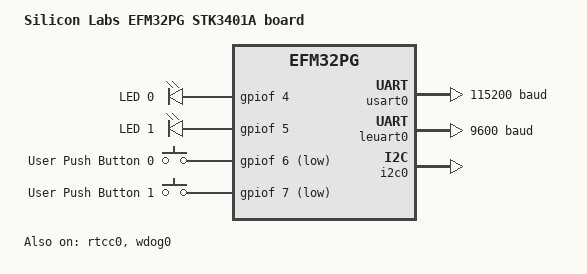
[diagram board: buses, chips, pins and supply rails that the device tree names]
/*
 * Copyright (c) 2020 Rafael Dias Menezes <rdmeneze@gmail.com>
 *
 * SPDX-License-Identifier: Apache-2.0
 */

/ {
	model = "Silicon Labs EFM32PG STK3401A board";

	chosen {
		zephyr,console = &usart0;
		zephyr,shell-uart = &usart0;
		zephyr,sram = &sram0;
		zephyr,flash = &flash0;
		watchdog0 = &wdog0;
	};

	/* These aliases are provided for compatibility with samples */
	aliases {
		led0 = &led0;
		led1 = &led1;
		sw0 = &button0;
		sw1 = &button1;
	};

	leds {
		compatible = "gpio-leds";
		led0: led_0 {
			gpios = <&gpiof 4 0>;
			label = "LED 0";
		};
		led1: led_1 {
			gpios = <&gpiof 5 0>;
			label = "LED 1";
		};
	};

	buttons {
		compatible = "gpio-keys";
		button0: button_0 {
			/* gpio flags need validation */
			gpios = <&gpiof 6 GPIO_ACTIVE_LOW>;
			label = "User Push Button 0";
		};
		button1: button_1 {
			/* gpio flags need validation */
			gpios = <&gpiof 7 GPIO_ACTIVE_LOW>;
			label = "User Push Button 1";
		};
	};
};

&cpu0 {
	clock-frequency = <40000000>;
};

&usart0 {
	current-speed = <115200>;
	location-rx = <GECKO_LOCATION(0) GECKO_PORT_A GECKO_PIN(1)>;
	location-tx = <GECKO_LOCATION(0) GECKO_PORT_A GECKO_PIN(0)>;
	status = "okay";
};

&leuart0 {
	current-speed = <9600>;
	location-rx = <GECKO_LOCATION(18) GECKO_PORT_D GECKO_PIN(11)>;
	location-tx = <GECKO_LOCATION(18) GECKO_PORT_D GECKO_PIN(10)>;
	status = "okay";
};

&i2c0 {
	location-sda = <GECKO_LOCATION(15) GECKO_PORT_C GECKO_PIN(10)>;
	location-scl = <GECKO_LOCATION(15) GECKO_PORT_C GECKO_PIN(11)>;
	status = "okay";
};

&rtcc0 {
	prescaler = <1>;
	status = "okay";
};

&gpio {
	location-swo = <0>;
	status = "okay";
};

&gpioa {
	status = "okay";
};

&gpiob {
	status = "okay";
};

&gpioc {
	status = "okay";
};

&gpiod {
	status = "okay";
};

&gpiof {
	status = "okay";
};

&wdog0 {
	status = "okay";
};

&flash0 {

	partitions {
		compatible = "fixed-partitions";
		#address-cells = <1>;
		#size-cells = <1>;

		/* Set 6Kb of storage at the end of the 256Kb of flash */
		storage_partition: partition@fe800 {
			label = "storage";
			reg = <0x0003e800 0x00001800>;
		};

	};
};
